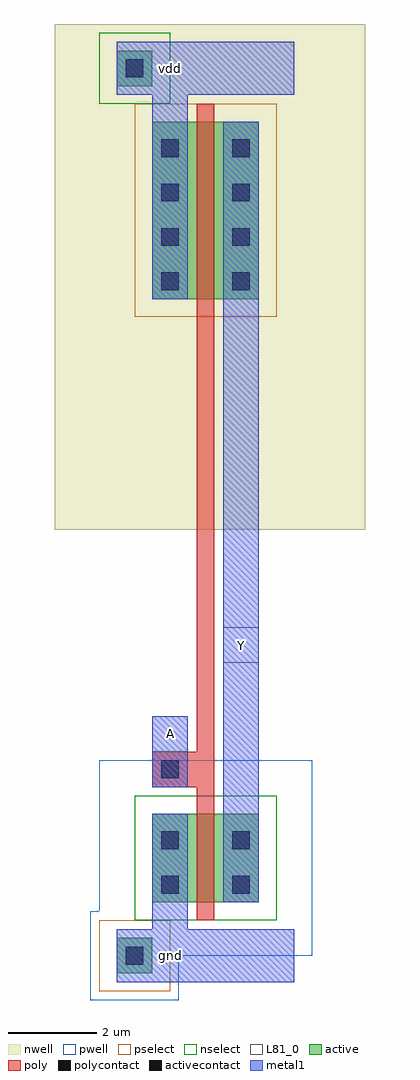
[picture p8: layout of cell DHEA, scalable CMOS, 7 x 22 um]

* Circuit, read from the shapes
.subckt DHEA A Y gnd vdd
M1 Y A gnd gnd nfet w=2u l=0.4u
M2 Y A vdd vdd pfet w=4u l=0.4u
.ends

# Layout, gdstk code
import gdstk
lib = gdstk.Library(unit=1e-6, precision=1e-09)
def R(c, l, rs):  # rectangles x0, y0, x1, y1
    for r in rs: c.add(gdstk.rectangle(r[:2], r[2:], *l))
def A(c, l, x, y, w, h, nx, ny, dx, dy):  # array of equal rectangles
    R(c, l, [(x+i*dx, y+j*dy, x+i*dx+w, y+j*dy+h) for i in range(nx) for j in range(ny)])
pwell = (41, 0)
nwell = (42, 0)
active = (43, 0)
pselect = (44, 0)
nselect = (45, 0)
poly = (46, 0)
polycontact = (47, 0)
activecontact = (48, 0)
metal1 = (49, 0)
L81_0 = (81, 0)

dhea = lib.new_cell('DHEA')
R(dhea, pwell, [(-1,-1,1,0), (-1,0,4,1), (-0.8,1,4,4.4)])
R(dhea, nwell, [(-1.8,9.6,5.2,21)])
R(dhea, active, [(-0.4,-0.4,0.4,0.4), (0.4,1.2,2.8,3.2), (0.4,14.8,2.8,18.8), (-0.4,19.6,0.4,20.4)])
R(dhea, pselect, [(-0.8,-0.8,0.8,0.8), (0,14.4,3.2,19.2)])
R(dhea, nselect, [(0,0.8,3.2,3.6), (-0.8,19.2,0.8,20.8)])
R(dhea, poly, [(1.4,0.8,1.8,3.8), (0.4,3.8,1.8,4.6), (1.4,4.6,1.8,19.2)])
R(dhea, polycontact, [(0.6,4,1,4.4)])
A(dhea, activecontact, 0.6, 15, 0.4, 0.4, 1, 4, 0, 1)
A(dhea, activecontact, 2.2, 15, 0.4, 0.4, 1, 4, 0, 1)
R(dhea, activecontact, [(-0.2,-0.2,0.2,0.2), (0.6,1.4,1,1.8), (2.2,1.4,2.6,1.8), (0.6,2.4,1,2.8), (2.2,2.4,2.6,2.8), (-0.2,19.8,0.2,20.2)])
R(dhea, metal1, [(-0.4,-0.6,3.6,0.6), (0.4,0.6,1.2,3.2), (2,1.2,2.8,18.8), (0.4,3.8,1.2,5.4), (0.4,14.8,1.2,19.4), (-0.4,19.4,3.6,20.6)])
R(dhea, L81_0, [(0.4,4.6,1.2,5.4), (2,6.6,2.8,7.4)])
dhea.add(gdstk.Label('A', (0.8,5), layer=49, texttype=0))
dhea.add(gdstk.Label('Y', (2.4,7), layer=49, texttype=0))
dhea.add(gdstk.Label('vdd', (0.8,20), layer=49, texttype=0))
dhea.add(gdstk.Label('gnd', (0.8,0), layer=49, texttype=0))

lib.write_gds('DHEA.gds')
